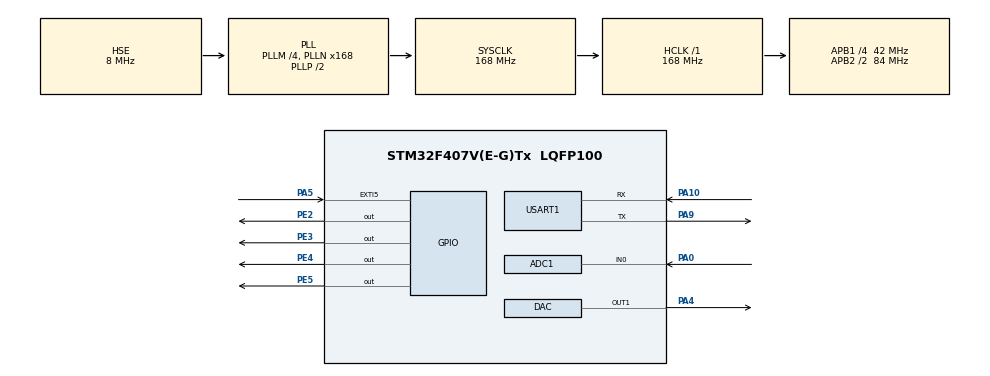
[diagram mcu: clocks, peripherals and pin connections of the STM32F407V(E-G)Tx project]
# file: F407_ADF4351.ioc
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ADC1.Channel-1\#ChannelRegularConversion=ADC_CHANNEL_0
ADC1.NbrOfConversionFlag=1
ADC1.Rank-1\#ChannelRegularConversion=1
ADC1.SamplingTime-1\#ChannelRegularConversion=ADC_SAMPLETIME_3CYCLES
ADC1.master=1
Mcu.Family=STM32F4
Mcu.Name=STM32F407V(E-G)Tx
Mcu.Package=LQFP100
NVIC.EXTI9_5_IRQn=true\:2\:0\:true\:false\:true\:true\:true\:true
NVIC.PriorityGroup=NVIC_PRIORITYGROUP_3
NVIC.TIM2_IRQn=true\:0\:0\:false\:false\:true\:true\:true\:true
NVIC.USART1_IRQn=true\:1\:1\:true\:false\:true\:true\:true\:true
PA0-WKUP.Signal=ADCx_IN0
PA10.Mode=Asynchronous
PA10.Signal=USART1_RX
PA13.Mode=Serial_Wire
PA13.Signal=SYS_JTMS-SWDIO
PA14.Mode=Serial_Wire
PA14.Signal=SYS_JTCK-SWCLK
PA4.Signal=COMP_DAC1_group
PA5.GPIO_PuPd=GPIO_PULLUP
PA5.Signal=GPXTI5
PA9.Mode=Asynchronous
PA9.Signal=USART1_TX
PC14-OSC32_IN.Mode=LSE-External-Oscillator
PC14-OSC32_IN.Signal=RCC_OSC32_IN
PC15-OSC32_OUT.Mode=LSE-External-Oscillator
PC15-OSC32_OUT.Signal=RCC_OSC32_OUT
PE2.GPIO_Speed=GPIO_SPEED_FREQ_HIGH
PE2.PinState=GPIO_PIN_SET
PE2.Signal=GPIO_Output
PE3.GPIO_Speed=GPIO_SPEED_FREQ_HIGH
PE3.PinState=GPIO_PIN_SET
PE3.Signal=GPIO_Output
PE4.GPIO_Speed=GPIO_SPEED_FREQ_HIGH
PE4.PinState=GPIO_PIN_SET
PE4.Signal=GPIO_Output
PE5.GPIO_Speed=GPIO_SPEED_FREQ_HIGH
PE5.PinState=GPIO_PIN_SET
PE5.Signal=GPIO_Output
PH0-OSC_IN.Mode=HSE-External-Oscillator
PH0-OSC_IN.Signal=RCC_OSC_IN
PH1-OSC_OUT.Mode=HSE-External-Oscillator
PH1-OSC_OUT.Signal=RCC_OSC_OUT
ProjectManager.HeapSize=0x200
ProjectManager.StackSize=0x400
ProjectManager.TargetToolchain=MDK-ARM V5.32
RCC.48MHZClocksFreq_Value=84000000
RCC.AHBFreq_Value=168000000
RCC.APB1CLKDivider=RCC_HCLK_DIV4
RCC.APB1Freq_Value=42000000
RCC.APB1TimFreq_Value=84000000
RCC.APB2CLKDivider=RCC_HCLK_DIV2
RCC.APB2Freq_Value=84000000
RCC.APB2TimFreq_Value=168000000
RCC.CortexFreq_Value=168000000
RCC.HCLKFreq_Value=168000000
RCC.HSE_VALUE=8000000
RCC.HSI_VALUE=16000000
RCC.PLLM=4
RCC.PLLN=168
RCC.PLLSourceVirtual=RCC_PLLSOURCE_HSE
RCC.SYSCLKFreq_VALUE=168000000
RCC.SYSCLKSource=RCC_SYSCLKSOURCE_PLLCLK
RCC.VCOOutputFreq_Value=336000000
SH.ADCx_IN0.0=ADC1_IN0,IN0
SH.COMP_DAC1_group.0=DAC_OUT1,DAC_OUT1
TIM2.AutoReloadPreload=TIM_AUTORELOAD_PRELOAD_ENABLE
TIM2.Period=49
TIM2.Prescaler=167
TIM2.TIM_MasterOutputTrigger=TIM_TRGO_RESET
USART1.VirtualMode=VM_ASYNC
VP_TIM2_VS_ClockSourceINT.Mode=Internal
board=custom

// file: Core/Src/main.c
/* USER CODE BEGIN Header */
/**
  ******************************************************************************
  * @file           : main.c
  * @brief          : Main program body
  ******************************************************************************
  * @attention
  *
  * Copyright (c) 2025 STMicroelectronics.
  * All rights reserved.
  *
  * This software is licensed under terms that can be found in the LICENSE file
  * in the root directory of this software component.
  * If no LICENSE file comes with this software, it is provided AS-IS.
  *
  ******************************************************************************
  */
/* USER CODE END Header */
#include "main.h"
#include "adc.h"
#include "dac.h"
#include "tim.h"
#include "usart.h"
#include "gpio.h"

/* USER CODE BEGIN Includes */
#include "ADF4351.h"
#include "stdio.h"
#include "math.h"
/* USER CODE END Includes */

/* USER CODE BEGIN PD */
#define WAIT_LOCK_COUNT  295
/* USER CODE END PD */

/* USER CODE BEGIN PV */

//扫频参数
uint32_t count=0, count1=0, NowFre=0;
uint32_t SweepMinFre = 90000;
uint32_t SweepMaxFre = 110000;
uint32_t extend_SweepMinFre = 90700;
uint32_t extend_SweepMaxFre = 110700;
uint32_t SweepStepFre = 100;
uint16_t SweepTime = 1000;//ms
uint8_t SweepFlag = 0;

uint8_t extend_part = 0;
uint8_t lock_time_flag=0;
uint8_t lock_time=0;
uint8_t state=0;

//串口屏参数
uint8_t RxBuffer [2];    //
uint8_t RxData;
uint8_t pRxBuffer;
uint8_t RxFlag = 0;

int16_t first_ADC_flag = -1;//第一次进入ADC采样标志
uint16_t ADC_Buffer[201];
uint8_t bar_Buffer[201];
uint8_t pADC_Buffer;

uint16_t ADC_value;
uint16_t ADC_noise = 0x2FF;//
uint8_t bar_value;//进度条

uint8_t count_spurious;//杂散波个数
uint16_t spuriousThreshold;//*0.02

uint16_t peak_freq;//最大幅度对应频率
uint16_t peak;//最大幅度
uint8_t  index_peak_freq;//最大幅度对应下标

uint32_t temp =0 ;
uint32_t temp_NowFre = 0;
uint16_t v_PLL = 230;//PLL初始输出
double log_v_PLL ;//log10PLL初始输出

uint8_t v_input = 10;//默认输出10mV

float max_dB = 20.5f;
float min_dB = -37.50f;

float max_v = 1400.0f;
float min_v = 100.0f;

float gain;//dB

//AGC参数
float v0=100;
uint16_t Voltage = 10;  //单位MV

/* USER CODE END PV */

void SystemClock_Config(void);
/* USER CODE BEGIN PFP */

//扫频TIM中断
void HAL_TIM_PeriodElapsedCallback(TIM_HandleTypeDef *htim)
{
	if(htim==(&htim2))
	{
    if(SweepFlag)
		{
			count ++;
      if(count >= SweepTime / 20)
      {
        count = 0;
        if(!extend_part)
        {
          NowFre = SweepMinFre+SweepStepFre*count1;
					count1 ++;
          if(NowFre==SweepMaxFre)
          {
            count1 = 0;
            NowFre = SweepMaxFre;
          }

          ADF4351WriteFreq((double)NowFre/1000);
          temp_NowFre = NowFre / 100;
          printf("x0.val=%d\xFF\xFF\xFF",temp_NowFre);
        }
        else
        {
//					SweepFlag = 0;
            NowFre = extend_SweepMinFre + SweepStepFre * count1;
						count1 ++;
            if(NowFre == extend_SweepMaxFre)
            {
              count1 = 0;
              NowFre = extend_SweepMaxFre;
            }
            //
            ADF4351WriteFreq((double)NowFre/1000);
            first_ADC_flag = WAIT_LOCK_COUNT;
        }
      }
		}

    if(lock_time_flag==1)
    {
      lock_time++;
    }
		if(first_ADC_flag != -1)
    {
      if(first_ADC_flag != 0)
      {
        first_ADC_flag --;
      }
      else
      {
        first_ADC_flag = -1;
				uint16_t ADC_temp[8];
				for(int i = 0; i < 8; i++){
					HAL_ADC_Start(&hadc1);
					HAL_ADC_PollForConversion(&hadc1,5);
					HAL_ADC_Stop(&hadc1);
					ADC_temp[i] = HAL_ADC_GetValue(&hadc1);
				}
				uint16_t ADC_temp_max = 0x00;
				uint16_t ADC_temp_min = 0x2FFF;
				uint16_t ADC_temp_sum = 0x00;
				for(int i = 0; i < 8; i++){
					ADC_temp_sum += ADC_temp[i];
					if(ADC_temp[i] > ADC_temp_max){
						ADC_temp_max = ADC_temp[i];
					}
					if(ADC_temp[i] < ADC_temp_min){
						ADC_temp_min = ADC_temp[i];
					}
				}
				ADC_value = (ADC_temp_sum - ADC_temp_min - ADC_temp_max) / 6;

//        HAL_ADC_Start(&hadc1);
//        HAL_ADC_PollForConversion(&hadc1,5);
//        HAL_ADC_Stop(&hadc1);
//        ADC_value= HAL_ADC_GetValue(&hadc1);

				if(ADC_value >= ADC_noise)
				{
					ADC_value -= ADC_noise;
				}
				else
				{
					ADC_value  = 0;
				}
        bar_value = ADC_value / 41 ;
        ADC_Buffer [pADC_Buffer] = ADC_value;

        printf("j%d.val=%d\xFF\xFF\xFF", pADC_Buffer, bar_value);

        pADC_Buffer=pADC_Buffer + 1;

        if(pADC_Buffer == 201)
        {
					//SweepFlag=0;
          pADC_Buffer = 0;
          peak = 0;

          for(uint8_t i =0;i<201;i++)
          {
            if(ADC_Buffer[i] > peak)
            {
              index_peak_freq = i;
              peak = ADC_Buffer[i];
            }
          }

          spuriousThreshold = peak * 0.02f;
          count_spurious = 0;

          for(uint8_t i =0;i<201;i++)
          {
            if(ADC_Buffer[i] > spuriousThreshold)
            {
              count_spurious ++;
            }
          }

          printf("x0.val=%d\xFF\xFF\xFF", 800 + index_peak_freq);
          printf("n0.val=%d\xFF\xFF\xFF", count_spurious-1);
          }
      }
    }

  }
}
void HAL_UART_RxCpltCallback(UART_HandleTypeDef *huart)
{
  if(huart->Instance == USART1)
	{
		RxFlag = 1;
	}
  HAL_UART_Receive_IT(&huart1, &RxData, 1);
}

void HAL_GPIO_EXTI_Callback(uint16_t GPIO_Pin)
{
	if(HAL_GPIO_ReadPin(GPIOA,GPIO_PIN_5) == GPIO_PIN_SET)
	{
		lock_time_flag=0;
		printf("x2.val=%d\xFF\xFF\xFF",lock_time);
		__HAL_GPIO_EXTI_CLEAR_FLAG(GPIO_PIN_5);
		  HAL_NVIC_DisableIRQ(EXTI9_5_IRQn);
	}
}

int fputc(int ch, FILE *f)
{
	 HAL_UART_Transmit(&huart1 , (uint8_t *)&ch, 1, 0xFFFF);
	return ch;
}

/* USER CODE END PFP */

int main(void)
{

  /* MCU Configuration--------------------------------------------------------*/

  /* Reset of all peripherals, Initializes the Flash interface and the Systick. */
  HAL_Init();

  /* Configure the system clock */
  SystemClock_Config();

  /* Initialize all configured peripherals */
  MX_GPIO_Init();
  MX_TIM2_Init();
  MX_USART1_UART_Init();
  MX_DAC_Init();
  MX_ADC1_Init();
  /* USER CODE BEGIN 2 */
	ADF4351Init();
  ADF4351WriteFreq(80.0f);
  NowFre = 80000;

  HAL_TIM_Base_Start_IT(&htim2);
  HAL_UART_Receive_IT(&huart1,&RxData, 1);
	//DAC
  log_v_PLL= log10(v_PLL);
  gain = 20.0f * (log10(v_input) - log_v_PLL);//dB
  v0 = min_v + ((gain - min_dB) * (max_v - min_v))/(max_dB - min_dB);
  HAL_DAC_SetValue(&hdac, DAC_CHANNEL_1, DAC_ALIGN_12B_R, v0*4096/3300);
  HAL_DAC_Start(&hdac, DAC_CHANNEL_1);

  /* USER CODE END 2 */

  /* Infinite loop */
  while (1)
  {

    /* USER CODE BEGIN 3 */
    if(RxFlag)
    {
      RxFlag = 0;
      switch (state)
      {
        case 0:
        {
          pRxBuffer = 0;
          if(RxData == 0x55)
          {
            state = 1;
          }
          else
          {
            state = 0;
          }
          break;
        }
        case 1:
        {
          if(RxData == 0x00)
          {
            state = 2;
          }
          else if(RxData == 0x01)
          {
            state = 3;
          }
          else if(RxData == 0x02)
          {
            state = 4;

          }
          else if(RxData == 0x09)
          {
            state = 5;
          }
          else if(RxData == 0x04)
          {
            state = 6;
          }
          else if(RxData == 0x05)
          {
            state = 7;
          }
          else if(RxData == 0x06)
          {
            state = 8;
          }
          else if(RxData == 0x07)
          {
            state = 9;
          }
          else if(RxData == 0x08)
          {
            state = 10;
          }
					else if(RxData == 0x10)
          {
            state = 11;
          }
          else
          {
            state = 0;
          }
          break;
        }
        case 2:
        {
          RxBuffer[pRxBuffer] = RxData;
          pRxBuffer ++;
          if(pRxBuffer == 2)
          {
            state = 0;
            Voltage = RxBuffer[0];
            v_input = Voltage ;
            gain = 20.0f * (log10(v_input) - log_v_PLL);//dB
            v0 = min_v + ((gain - min_dB) * (max_v - min_v))/(max_dB - min_dB);
            HAL_DAC_SetValue(&hdac, DAC_CHANNEL_1, DAC_ALIGN_12B_R, v0*4095/3300);
            HAL_DAC_Start(&hdac, DAC_CHANNEL_1);
          }
          break;
        }
        case 3:
        {
          RxBuffer[pRxBuffer] = RxData;
          pRxBuffer ++;
          if(pRxBuffer == 2)
          {
            state = 0;
            SweepTime = RxBuffer[0] * 100;
          }
          break;

        }
        case 4:
        {
          RxBuffer[pRxBuffer] = RxData;
          pRxBuffer ++;
					HAL_NVIC_EnableIRQ(EXTI9_5_IRQn);
          if(pRxBuffer == 2)
          {
						lock_time_flag=1;
						lock_time = 0;
            state = 0;
            SweepFlag = 0;
            temp =  (RxBuffer[1] <<8 )| RxBuffer[0];
            NowFre=temp * 100;
            ADF4351WriteFreq((float)temp / 10.0f);
          }
          break;
        }
        case 5:
        {
          RxBuffer[pRxBuffer] = RxData;
          pRxBuffer ++;
          if(pRxBuffer == 2)
          {
            state = 0;
            SweepFlag = 1;
						count1 = 0;
          }
          break;
        }
        case 6:
        {
          RxBuffer[pRxBuffer] = RxData;
          pRxBuffer ++;
          if(pRxBuffer == 2)
          {
            state = 0;
            if(NowFre >=110000)
            {
              NowFre = 90000;
            }
            else
            {
              NowFre += 100;
            }
            temp_NowFre = NowFre / 100;
            printf("x0.val=%d\xFF\xFF\xFF",temp_NowFre);
            SweepFlag = 0;
            ADF4351WriteFreq(((float)NowFre) / 1000.0f);
          }
          break;
        }
        case 7:
        {
          RxBuffer[pRxBuffer] = RxData;
          pRxBuffer ++;
          if(pRxBuffer == 2)
          {
            state = 0;
            SweepFlag = 1;
            extend_part = 1;
						pRxBuffer = 0;
						pADC_Buffer = 0;
            first_ADC_flag = -1;
						count1=0;

						v_input = 10;
            gain = 20.0f * (log10(v_input) - log_v_PLL);//dB
            v0 = min_v + ((gain - min_dB) * (max_v - min_v))/(max_dB - min_dB);
            HAL_DAC_SetValue(&hdac, DAC_CHANNEL_1, DAC_ALIGN_12B_R, v0*4095/3300);
            HAL_DAC_Start(&hdac, DAC_CHANNEL_1);

						SweepTime = 6000;
          }
          break;
        }
        case 8:
        {
          RxBuffer[pRxBuffer] = RxData;
          pRxBuffer ++;
          if(pRxBuffer == 2)
          {
            state = 0;
            extend_part = 0;
						SweepFlag = 0;
          }
          break;
        }
        case 9:
        {
          RxBuffer[pRxBuffer] = RxData;
          pRxBuffer ++;
          if(pRxBuffer == 2)
          {
            state = 0;
            //关闭自动扫频
            SweepFlag = 0;
            //发送当前频率
            temp_NowFre = NowFre / 100;
            printf("x0.val=%d\xFF\xFF\xFF",temp_NowFre);
          }
          break;
        }
        case 10:
        {
          RxBuffer[pRxBuffer] = RxData;
          pRxBuffer ++;
          if(pRxBuffer == 2)
          {
            state = 0;
            //关闭自动扫频
            SweepFlag = 0;
            //发送当前频率
            temp_NowFre = NowFre / 100;
            printf("x0.val=%d\xFF\xFF\xFF",temp_NowFre);
          }
          break;
        }
				case 11:
        {
          RxBuffer[pRxBuffer] = RxData;
          pRxBuffer ++;
          if(pRxBuffer == 2)
          {
            state = 0;
            //关闭自动扫频
            SweepFlag = 0;
          }
          break;
        }
        default:
          break;
      }
  }
}
  /* USER CODE END 3 */
}

void SystemClock_Config(void)
{
  RCC_OscInitTypeDef RCC_OscInitStruct = {0};
  RCC_ClkInitTypeDef RCC_ClkInitStruct = {0};

  /** Configure the main internal regulator output voltage
  */
  __HAL_RCC_PWR_CLK_ENABLE();
  __HAL_PWR_VOLTAGESCALING_CONFIG(PWR_REGULATOR_VOLTAGE_SCALE1);

  /** Initializes the RCC Oscillators according to the specified parameters
  * in the RCC_OscInitTypeDef structure.
  */
  RCC_OscInitStruct.OscillatorType = RCC_OSCILLATORTYPE_HSE;
  RCC_OscInitStruct.HSEState = RCC_HSE_ON;
  RCC_OscInitStruct.PLL.PLLState = RCC_PLL_ON;
  RCC_OscInitStruct.PLL.PLLSource = RCC_PLLSOURCE_HSE;
  RCC_OscInitStruct.PLL.PLLM = 4;
  RCC_OscInitStruct.PLL.PLLN = 168;
  RCC_OscInitStruct.PLL.PLLP = RCC_PLLP_DIV2;
  RCC_OscInitStruct.PLL.PLLQ = 4;
  if (HAL_RCC_OscConfig(&RCC_OscInitStruct) != HAL_OK)
  {
    Error_Handler();
  }

  /** Initializes the CPU, AHB and APB buses clocks
  */
  RCC_ClkInitStruct.ClockType = RCC_CLOCKTYPE_HCLK|RCC_CLOCKTYPE_SYSCLK
                              |RCC_CLOCKTYPE_PCLK1|RCC_CLOCKTYPE_PCLK2;
  RCC_ClkInitStruct.SYSCLKSource = RCC_SYSCLKSOURCE_PLLCLK;
  RCC_ClkInitStruct.AHBCLKDivider = RCC_SYSCLK_DIV1;
  RCC_ClkInitStruct.APB1CLKDivider = RCC_HCLK_DIV4;
  RCC_ClkInitStruct.APB2CLKDivider = RCC_HCLK_DIV2;

  if (HAL_RCC_ClockConfig(&RCC_ClkInitStruct, FLASH_LATENCY_5) != HAL_OK)
  {
    Error_Handler();
  }
}

void Error_Handler(void)
{
  __disable_irq();
  while (1)
  {
  }
}
